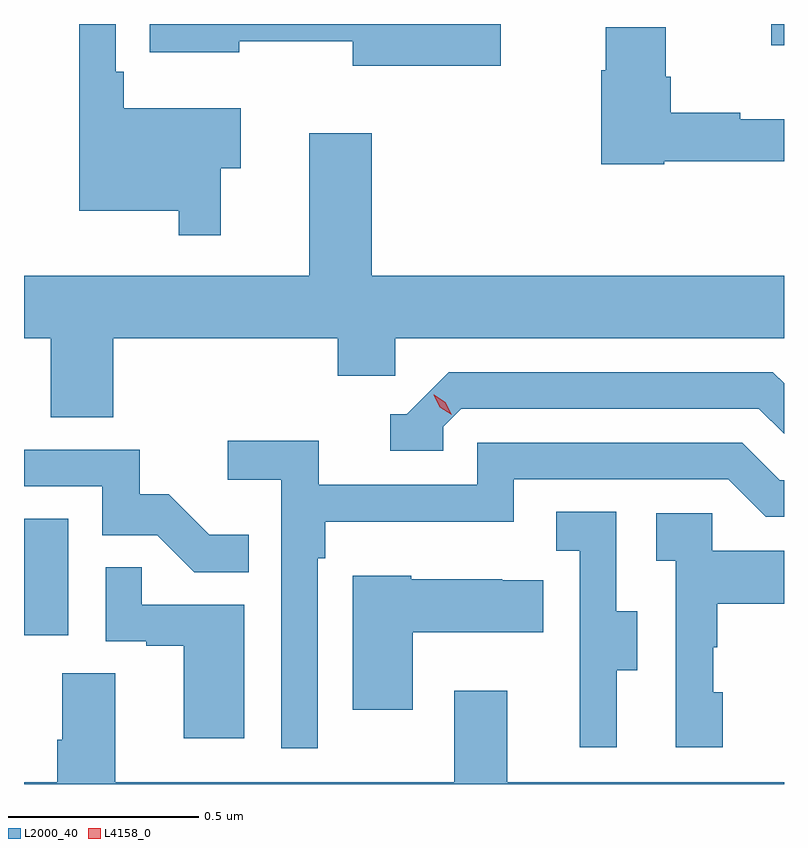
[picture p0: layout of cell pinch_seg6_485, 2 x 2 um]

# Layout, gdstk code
import gdstk
lib = gdstk.Library(unit=1e-6, precision=1e-09)
def R(c, l, rs):  # rectangles x0, y0, x1, y1
    for r in rs: c.add(gdstk.rectangle(r[:2], r[2:], *l))
def P(c, l, *ps):  # polygons
    for p in ps: c.add(gdstk.Polygon(p, *l))
L2000_40 = (2000, 40)
L4158_0 = (4158, 0)

pinch_seg6_485 = lib.new_cell('pinch_seg6_485')
R(pinch_seg6_485, L2000_40, [(859.561,915.918,859.678,916.225), (861.528,917.471,861.561,917.527)])
P(pinch_seg6_485, L2000_40, [(860.079,917.147),(860.131,917.147),(860.131,917.305),(859.823,917.305),(859.823,917.401),(859.803,917.401),(859.803,917.527),(859.706,917.527),(859.706,917.036),(859.968,917.036),(859.968,916.971),(860.079,916.971)],
  [(860.815,917.527),(859.892,917.527),(859.892,917.453),(860.128,917.453),(860.128,917.482),(860.426,917.482),(860.426,917.417),(860.815,917.417)],
  [(861.246,917.166),(861.561,917.166),(861.561,917.276),(861.446,917.276),(861.446,917.294),(861.263,917.294),(861.263,917.388),(861.25,917.388),(861.25,917.518),(861.092,917.518),(861.092,917.405),(861.08,917.405),(861.08,917.158),(861.246,917.158)],
  [(859.796,916.7),(860.387,916.7),(860.387,916.602),(860.538,916.602),(860.538,916.7),(861.561,916.7),(861.561,916.864),(860.476,916.864),(860.476,917.239),(860.312,917.239),(860.312,916.864),(859.561,916.864),(859.561,916.7),(859.631,916.7),(859.631,916.492),(859.796,916.492)],
  [(860.664,916.467),(860.712,916.515),(861.495,916.515),(861.561,916.449),(861.561,916.582),(861.532,916.611),(860.679,916.611),(860.568,916.5),(860.525,916.5),(860.525,916.404),(860.664,916.404)],
  [(860.334,916.121),(860.354,916.121),(860.354,916.217),(860.85,916.217),(860.85,916.329),(861.414,916.329),(861.513,916.23),(861.561,916.23),(861.561,916.326),(861.55,916.326),(861.451,916.425),(860.754,916.425),(860.754,916.314),(860.336,916.314),(860.336,916.43),(860.097,916.43),(860.097,916.328),(860.238,916.328),(860.238,915.621),(860.334,915.621)],
  [(860.153,916.183),(860.049,916.183),(859.942,916.29),(859.866,916.29),(859.866,916.407),(859.561,916.407),(859.561,916.311),(859.767,916.311),(859.767,916.182),(859.911,916.182),(860.009,916.084),(860.153,916.084)],
  [(861.121,915.826),(861.175,915.826),(861.175,915.981),(861.12,915.981),(861.12,916.244),(860.961,916.244),(860.961,916.141),(861.024,916.141),(861.024,915.837),(861.023,915.837),(861.023,915.624),(861.121,915.624)],
  [(861.4,915.768),(861.375,915.768),(861.375,915.887),(861.385,915.887),(861.385,916.001),(861.561,916.001),(861.561,916.141),(861.372,916.141),(861.372,916.239),(861.225,916.239),(861.225,916.115),(861.276,916.115),(861.276,915.624),(861.4,915.624)],
  [(860.14,915.999),(859.871,915.999),(859.871,916.097),(859.776,916.097),(859.776,915.903),(859.883,915.903),(859.883,915.891),(859.982,915.891),(859.982,915.648),(860.14,915.648)],
  [(860.584,915.926),(860.927,915.926),(860.927,916.063),(860.819,916.063),(860.819,916.066),(860.58,916.066),(860.58,916.075),(860.426,916.075),(860.426,915.723),(860.584,915.723)],
  [(861.561,915.532),(860.833,915.532),(860.833,915.772),(860.693,915.772),(860.693,915.532),(859.801,915.532),(859.801,915.818),(859.661,915.818),(859.661,915.644),(859.649,915.644),(859.649,915.532),(859.561,915.532),(859.561,915.527),(861.561,915.527)])
P(pinch_seg6_485, L4158_0, [(860.686,916.499),(860.655,916.519),(860.639,916.551),(860.639,916.552),(860.64,916.552),(860.67,916.532),(860.686,916.499),(860.686,916.499)])

lib.write_gds('pinch_seg6_485.gds')
